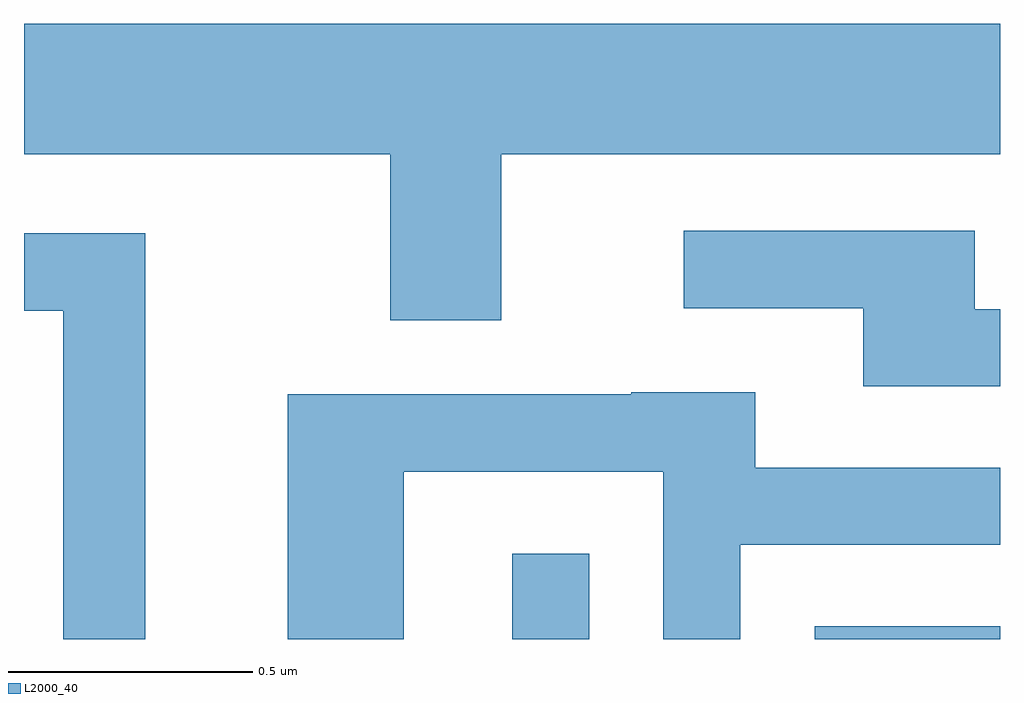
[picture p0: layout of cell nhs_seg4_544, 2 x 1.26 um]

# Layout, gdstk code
import gdstk
lib = gdstk.Library(unit=1e-6, precision=1e-09)
def R(c, l, rs):  # rectangles x0, y0, x1, y1
    for r in rs: c.add(gdstk.rectangle(r[:2], r[2:], *l))
def P(c, l, *ps):  # polygons
    for p in ps: c.add(gdstk.Polygon(p, *l))
L2000_40 = (2000, 40)

nhs_seg4_544 = lib.new_cell('nhs_seg4_544')
R(nhs_seg4_544, L2000_40, [(189.611,1386.982,189.769,1387.158), (190.231,1386.982,190.611,1387.009)])
P(nhs_seg4_544, L2000_40, [(189.589,1387.976),(190.611,1387.976),(190.611,1388.244),(188.611,1388.244),(188.611,1387.976),(189.361,1387.976),(189.361,1387.636),(189.589,1387.636)],
  [(190.611,1387.659),(190.559,1387.659),(190.559,1387.819),(189.963,1387.819),(189.963,1387.661),(190.331,1387.661),(190.331,1387.501),(190.611,1387.501)],
  [(188.859,1387.814),(188.611,1387.814),(188.611,1387.656),(188.691,1387.656),(188.691,1386.982),(188.859,1386.982)],
  [(189.389,1387.326),(189.921,1387.326),(189.921,1386.982),(190.079,1386.982),(190.079,1387.176),(190.611,1387.176),(190.611,1387.334),(190.109,1387.334),(190.109,1387.489),(189.855,1387.489),(189.855,1387.484),(189.151,1387.484),(189.151,1386.982),(189.389,1386.982)])

lib.write_gds('nhs_seg4_544.gds')
